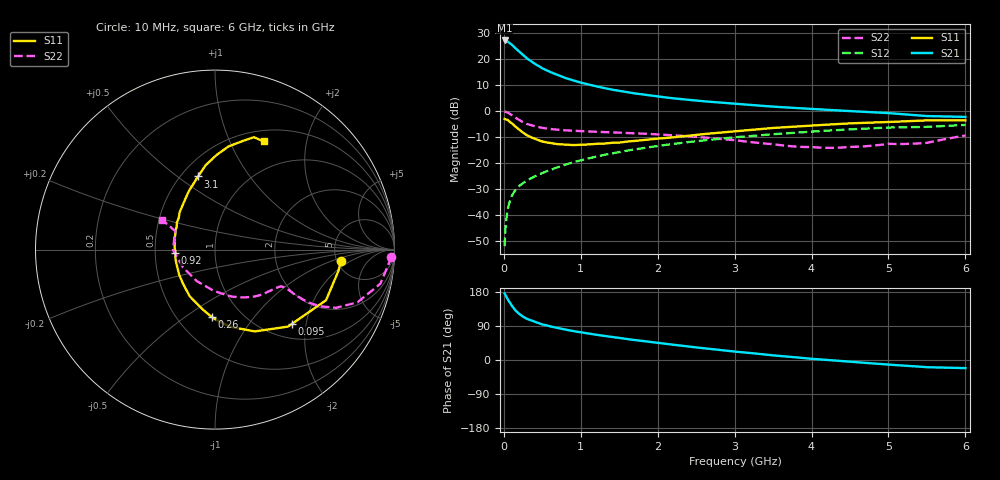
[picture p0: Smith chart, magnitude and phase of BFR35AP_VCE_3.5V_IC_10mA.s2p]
! (c) 2015  Infineon Technologies AG, Munich
! Infineon Technologies  Discrete & RF Semiconductors
! BFR35AP
! VCE =  3.5 V,  IC =  10 mA
! Common Emitter S-Parameters:  Nov 2015
# GHz  S  MA  R  50
!  f  S11  S21  S12  S22
! GHz  MAG  ANG  MAG  ANG  MAG  ANG  MAG  ANG
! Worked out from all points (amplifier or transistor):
!   210 points, 10 MHz to 6 GHz, reference 50 ohm
!   highest |S21| = 27.2 dB at 10 MHz (marker M1)
!   |S21| within 3 dB of that: start of sweep to 151.5 MHz
!   unconditionally stable (mu >= 1): 573.8 MHz to 3.342 GHz
!   at 185 MHz: K = 0.56, MSG = 26.3 dB, |S12| = -29.3 dB
!   at 1.52 GHz: K = 1.11, MAG = 9.7 dB, |S12| = -15.7 dB
!   at 6 GHz: K = 0.95, MSG = 1.5 dB, |S12| = -5.3 dB
!   S11 on the Smith chart (normalised r, x): 10 MHz: 5.43, -1.35; 95 MHz: 1.30, -1.66; 260 MHz: 0.73, -0.64; 920 MHz: 0.64, -0.02; 3.1 GHz: 0.61, +0.60; 6 GHz: 0.63, +1.35
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0.01  0.7051 -5.1  22.94 175.8  0.0025 85.5  0.9836 -2.3
0.02  0.6975 -9.9  22.68 171.6  0.0052 88.6  0.9706 -4.8
0.05  0.6799 -24.5  21.82 160.2  0.0127 77.3  0.9413 -11.6
0.095  0.5958 -44.0  19.46 145.7  0.0217 70.5  0.855 -19.3
0.1  0.5913 -46.5  19.29 143.9  0.0227 70.1  0.8465 -20.3
0.15  0.5072 -64.0  16.32 130.6  0.0302 64.8  0.7486 -25.7
0.2  0.4398 -78.5  13.92 121.5  0.0361 62.8  0.6716 -28.1
0.24  0.3939 -88.3  12.32 115.7  0.0401 62.0  0.6228 -29.1
0.26  0.3753 -92.9  11.62 113.0  0.042 61.8  0.6015 -29.4
0.3  0.3428 -100.9  10.38 108.5  0.0458 61.9  0.5653 -29.6
0.4  0.2952 -118.7  8.183 100.7  0.0552 62.4  0.5101 -29.4
0.5  0.2596 -133.6  6.674 93.9  0.064 63.4  0.474 -28.8
0.6  0.2434 -145.4  5.684 88.7  0.0734 64.1  0.4518 -28.4
0.7  0.2308 -155.7  4.933 84.1  0.0828 64.8  0.4377 -28.6
0.92  0.2218 -175.8  3.817 75.8  0.105 64.6  0.4165 -29.6
1.02  0.2252 176.6  3.476 72.4  0.1144 64.3  0.4101 -30.5
1.4  0.2459 153.4  2.6 61.0  0.1523 62.3  0.39 -35.1
2.02  0.296 129.5  1.898 44.7  0.2146 56.8  0.3544 -45.8
3.1  0.4182 103.0  1.347 20.4  0.3213 44.3  0.264 -74.8
4.1  0.5374 87.6  1.079 1.7  0.4113 31.6  0.1982 -126.8
5.1  0.625 75.6  0.892 -13.5  0.4843 17.6  0.2324 175.1
6  0.6611 65.7  0.773 -21.4  0.5415 7.4  0.3383 150.6
